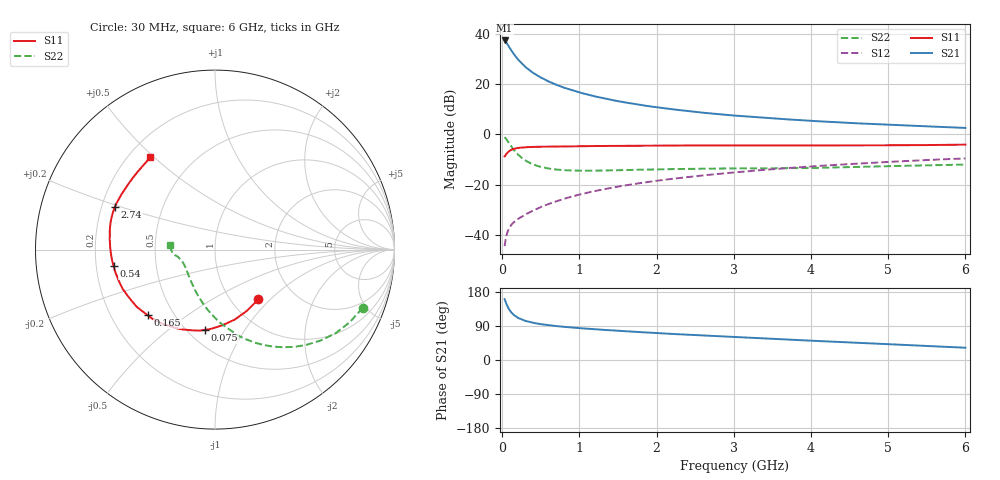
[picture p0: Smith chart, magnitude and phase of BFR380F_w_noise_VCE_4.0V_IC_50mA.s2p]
! Infineon Technologies  Discrete & RF Semiconductors
! BFR380F
! VCE =  4.0 V,  IC =  50 mA
! Common Emitter S-Parameters:  Nov 2015
# GHz  S  MA  R  50
!  f  S11  S21  S12  S22
! GHz  MAG  ANG  MAG  ANG  MAG  ANG  MAG  ANG
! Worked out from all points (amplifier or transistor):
!   206 points, 30 MHz to 6 GHz, reference 50 ohm
!   highest |S21| = 37.3 dB at 30 MHz (marker M1)
!   |S21| within 3 dB of that: start of sweep to 97.23 MHz
!   unconditionally stable (mu >= 1): 893.5 MHz to 4.845 GHz
!   at 200 MHz: K = 0.61, MSG = 31.7 dB, |S12| = -33.6 dB
!   at 1.56 GHz: K = 1.04, MAG = 15.5 dB, |S12| = -20.4 dB
!   at 6 GHz: K = 0.99, MSG = 6.0 dB, |S12| = -9.5 dB
!   lowest NFmin = 1.53 dB at 900 MHz
!   S11 on the Smith chart (normalised r, x): 30 MHz: 1.33, -0.85; 75 MHz: 0.61, -0.68; 165 MHz: 0.36, -0.36; 540 MHz: 0.27, -0.08; 2.74 GHz: 0.25, +0.19; 6 GHz: 0.29, +0.49
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0.03  0.3679 -48.8  73 160.7  0.0061 77.8  0.8842 -21.6
0.05  0.4049 -74.1  67.32 149.3  0.0094 71.2  0.8179 -34.7
0.07  0.4429 -93.2  60.37 140.2  0.012 64.7  0.7384 -45.8
0.075  0.4502 -97.0  58.71 138.5  0.0125 63.7  0.7187 -48.2
0.1  0.481 -112.4  50.88 130.1  0.0149 59.8  0.629 -59.2
0.12  0.4967 -121.6  45.55 124.9  0.0164 58.2  0.5675 -66.4
0.15  0.5199 -132.0  39.04 118.7  0.0182 56.7  0.4929 -75.3
0.165  0.5237 -135.6  36.58 116.9  0.019 56.6  0.4644 -78.3
0.2  0.5402 -143.7  31.01 111.5  0.0209 56.5  0.404 -86.8
0.24  0.5467 -149.7  26.7 107.9  0.0228 57.6  0.3562 -93.8
0.3  0.5587 -156.8  21.73 103.1  0.0259 59.4  0.3042 -103.3
0.4  0.5651 -164.2  16.61 98.1  0.031 62.5  0.2547 -115.3
0.54  0.5726 -170.7  12.53 93.5  0.0386 65.8  0.2202 -127.6
0.7  0.5786 -175.8  9.658 89.5  0.0473 68.2  0.2017 -138.3
1.04  0.5859 176.9  6.553 83.5  0.0665 70.6  0.1912 -151.9
1.4  0.5928 171.3  4.884 78.4  0.0868 71.3  0.1939 -159.9
2.02  0.6026 164.0  3.428 70.9  0.1218 70.6  0.2031 -165.7
2.74  0.6066 156.8  2.575 63.2  0.1618 68.5  0.2109 -169.3
3.1  0.6058 153.6  2.312 59.8  0.182 67.2  0.2125 -169.7
4.1  0.6049 143.9  1.825 50.0  0.2375 62.7  0.2177 -170.5
5.1  0.6112 134.8  1.537 40.9  0.2907 57.8  0.237 -175.6
6  0.628 125.1  1.347 32.4  0.3349 52.4  0.2529 174.0
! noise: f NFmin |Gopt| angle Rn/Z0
0.45  1.55  0.41  -175  0.08
0.9  1.53  0.44  -174  0.07
1.8  1.72  0.48  -162  0.09
1.9  1.81  0.48  -163  0.09
2.4  1.87  0.49  -153  0.12
3.5  2.48  0.54  -144  0.2
